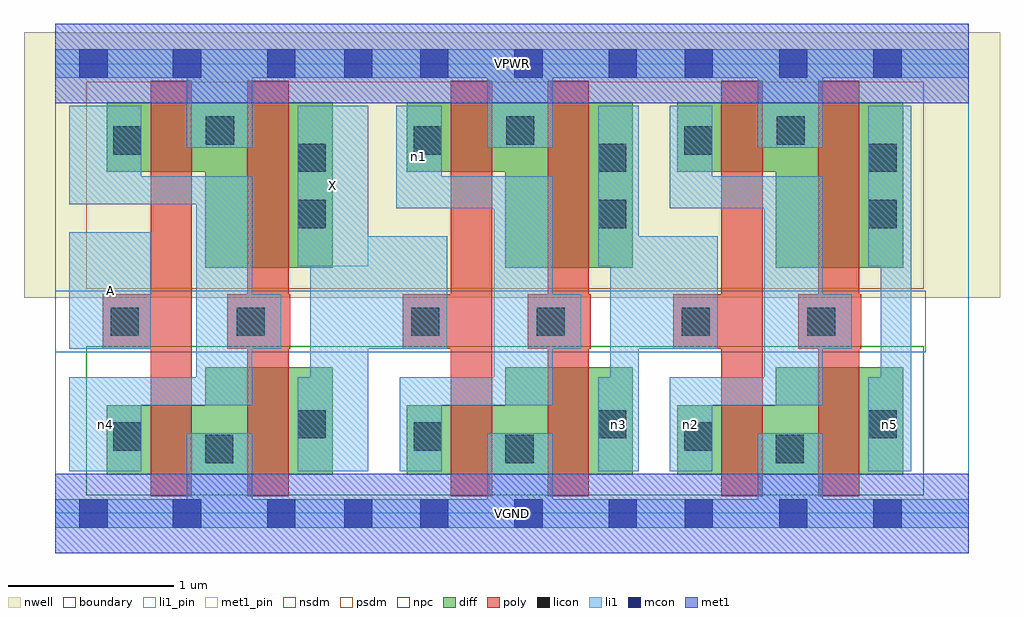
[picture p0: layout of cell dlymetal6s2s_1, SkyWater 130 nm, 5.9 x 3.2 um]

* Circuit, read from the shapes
.subckt dlymetal6s2s_1 A VGND VPWR X n1 n2 n3 n4 n5
XM1 VGND A n4 VSUBS sky130_fd_pr__nfet_01v8 w=0.42 l=0.25
XM2 X n4 VGND VSUBS sky130_fd_pr__nfet_01v8 w=0.65 l=0.25
XM3 VGND X n1 VSUBS sky130_fd_pr__nfet_01v8 w=0.42 l=0.25
XM4 n3 n1 VGND VSUBS sky130_fd_pr__nfet_01v8 w=0.65 l=0.25
XM5 VGND n3 n2 VSUBS sky130_fd_pr__nfet_01v8 w=0.42 l=0.25
XM6 n5 n2 VGND VSUBS sky130_fd_pr__nfet_01v8 w=0.65 l=0.25
XM7 VPWR A n4 n6 sky130_fd_pr__pfet_01v8 w=0.42 l=0.25
XM8 X n4 VPWR n6 sky130_fd_pr__pfet_01v8 w=1 l=0.25
XM9 VPWR X n1 n6 sky130_fd_pr__pfet_01v8 w=0.42 l=0.25
XM10 n3 n1 VPWR n6 sky130_fd_pr__pfet_01v8 w=1 l=0.25
XM11 VPWR n3 n2 n6 sky130_fd_pr__pfet_01v8 w=0.42 l=0.25
XM12 n5 n2 VPWR n6 sky130_fd_pr__pfet_01v8 w=1 l=0.25
.ends

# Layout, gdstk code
import gdstk
lib = gdstk.Library(unit=1e-6, precision=1e-09)
def R(c, l, rs):  # rectangles x0, y0, x1, y1
    for r in rs: c.add(gdstk.rectangle(r[:2], r[2:], *l))
def A(c, l, x, y, w, h, nx, ny, dx, dy):  # array of equal rectangles
    R(c, l, [(x+i*dx, y+j*dy, x+i*dx+w, y+j*dy+h) for i in range(nx) for j in range(ny)])
nwell = (64, 20)
diff = (65, 20)
poly = (66, 20)
licon = (66, 44)
li1_pin = (67, 16)
li1 = (67, 20)
mcon = (67, 44)
met1_pin = (68, 16)
met1 = (68, 20)
nsdm = (93, 44)
psdm = (94, 20)
npc = (95, 20)
boundary = (235, 4)

dlymetal6s2s_1 = lib.new_cell('dlymetal6s2s_1')
R(dlymetal6s2s_1, nwell, [(-0.19,1.305,5.71,2.91), (0,1.305,5.52,2.91)])
R(dlymetal6s2s_1, diff, [(0.31,0.235,1.675,0.655), (0.905,0.235,1.675,0.885), (2.125,0.235,3.49,0.655), (2.72,0.235,3.49,0.885), (3.76,0.235,5.125,0.655), (4.355,0.235,5.125,0.885), (0.905,1.485,1.675,2.485), (2.72,1.485,3.49,2.485), (4.355,1.485,5.125,2.485), (0.31,2.065,1.675,2.485), (2.125,2.065,3.49,2.485), (3.76,2.065,5.125,2.485)])
R(dlymetal6s2s_1, poly, [(0.575,0.105,0.825,2.615), (1.16,0.105,1.41,2.615), (2.39,0.105,2.64,2.615), (2.975,0.105,3.225,2.615), (4.025,0.105,4.275,2.615), (4.61,0.105,4.86,2.615), (0.285,0.995,0.825,1.325), (1.04,0.995,1.42,1.325), (2.1,0.995,2.64,1.325), (2.855,0.995,3.235,1.325), (3.735,0.995,4.275,1.325), (4.49,0.995,4.87,1.325)])
R(dlymetal6s2s_1, licon, [(0.905,0.305,1.075,0.475), (2.72,0.305,2.89,0.475), (4.355,0.305,4.525,0.475), (0.35,0.38,0.52,0.55), (2.165,0.38,2.335,0.55), (3.8,0.38,3.97,0.55), (1.465,0.455,1.635,0.625), (3.28,0.455,3.45,0.625), (4.915,0.455,5.085,0.625), (0.335,1.075,0.505,1.245), (1.095,1.075,1.265,1.245), (2.15,1.075,2.32,1.245), (2.91,1.075,3.08,1.245), (3.785,1.075,3.955,1.245), (4.545,1.075,4.715,1.245), (1.465,1.725,1.635,1.895), (3.28,1.725,3.45,1.895), (4.915,1.725,5.085,1.895), (1.465,2.065,1.635,2.235), (3.28,2.065,3.45,2.235), (4.915,2.065,5.085,2.235), (0.35,2.17,0.52,2.34), (2.165,2.17,2.335,2.34), (3.8,2.17,3.97,2.34), (0.91,2.23,1.08,2.4), (2.725,2.23,2.895,2.4), (4.36,2.23,4.53,2.4)])
R(dlymetal6s2s_1, li1_pin, [(0.085,0.995,0.575,1.7), (1.465,1.495,1.89,2.465)])
R(dlymetal6s2s_1, li1, [(0,-0.085,5.52,0.085), (0.795,-0.085,1.19,0.485), (2.61,-0.085,3.005,0.485), (4.245,-0.085,4.64,0.485), (0.085,0.255,0.52,0.825), (1.465,0.255,1.89,0.825), (1.54,0.255,1.89,2.465), (2.08,0.255,2.335,0.825), (3.28,0.255,3.525,0.825), (3.355,0.255,3.525,2.465), (3.715,0.255,3.97,0.825), (4.915,0.255,5.175,0.825), (4.99,0.255,5.175,2.465), (0.085,0.655,1.19,0.825), (0.85,0.655,1.19,2.04), (2.08,0.655,3.005,0.825), (2.65,0.655,3.005,2.04), (3.715,0.655,4.64,0.825), (4.285,0.655,4.64,2.04), (0.085,0.995,0.575,1.7), (0.85,0.995,1.365,1.325), (1.54,0.995,2.37,1.675), (2.65,0.995,3.18,1.325), (3.355,0.995,4.005,1.675), (4.285,0.995,4.815,1.325), (1.465,1.495,1.89,2.465), (3.28,1.495,3.525,2.465), (4.915,1.495,5.175,2.465), (2.06,1.845,2.335,2.465), (2.06,1.845,3.005,2.04), (3.715,1.845,3.97,2.465), (3.715,1.845,4.64,2.04), (0.085,1.87,1.19,2.04), (0.085,1.87,0.52,2.465), (0.795,2.21,1.19,2.805), (2.61,2.21,3.005,2.805), (4.245,2.21,4.64,2.805), (0,2.635,5.52,2.805)])
A(dlymetal6s2s_1, mcon, 2.205, -0.085, 0.17, 0.17, 3, 2, 0.57, 2.72)
A(dlymetal6s2s_1, mcon, 3.805, -0.085, 0.17, 0.17, 3, 2, 0.57, 2.72)
R(dlymetal6s2s_1, mcon, [(0.145,-0.085,0.315,0.085), (0.71,-0.085,0.88,0.085), (1.28,-0.085,1.45,0.085), (1.745,-0.085,1.915,0.085), (0.145,2.635,0.315,2.805), (0.71,2.635,0.88,2.805), (1.28,2.635,1.45,2.805), (1.745,2.635,1.915,2.805)])
R(dlymetal6s2s_1, met1_pin, [(0,-0.24,5.52,0.24), (0,2.48,5.52,2.96)])
R(dlymetal6s2s_1, met1, [(0,-0.24,5.52,0.24), (0,2.48,5.52,2.96)])
R(dlymetal6s2s_1, nsdm, [(0.185,0.11,5.25,1.01)])
R(dlymetal6s2s_1, psdm, [(0.185,1.36,5.25,2.61)])
R(dlymetal6s2s_1, npc, [(0,0.975,5.26,1.345)])
R(dlymetal6s2s_1, boundary, [(0,0,5.52,2.72)])
dlymetal6s2s_1.add(gdstk.Label('A', (0.33,1.347), layer=67, texttype=5))
dlymetal6s2s_1.add(gdstk.Label('X', (1.677,1.98), layer=67, texttype=5))
dlymetal6s2s_1.add(gdstk.Label('n4', (0.302,0.54), layer=67, texttype=5))
dlymetal6s2s_1.add(gdstk.Label('n1', (2.197,2.155), layer=67, texttype=5))
dlymetal6s2s_1.add(gdstk.Label('n3', (3.402,0.54), layer=67, texttype=5))
dlymetal6s2s_1.add(gdstk.Label('n2', (3.842,0.54), layer=67, texttype=5))
dlymetal6s2s_1.add(gdstk.Label('n5', (5.045,0.54), layer=67, texttype=5))
dlymetal6s2s_1.add(gdstk.Label('VPWR', (2.76,2.72), layer=68, texttype=5))
dlymetal6s2s_1.add(gdstk.Label('VGND', (2.76,0), layer=68, texttype=5))
dlymetal6s2s_1.add(gdstk.Label('A', (0.33,1.347), layer=67, texttype=16))
dlymetal6s2s_1.add(gdstk.Label('X', (1.677,1.98), layer=67, texttype=16))
dlymetal6s2s_1.add(gdstk.Label('VPWR', (2.76,2.72), layer=68, texttype=16))
dlymetal6s2s_1.add(gdstk.Label('VGND', (2.76,0), layer=68, texttype=16))

lib.write_gds('dlymetal6s2s_1.gds')
